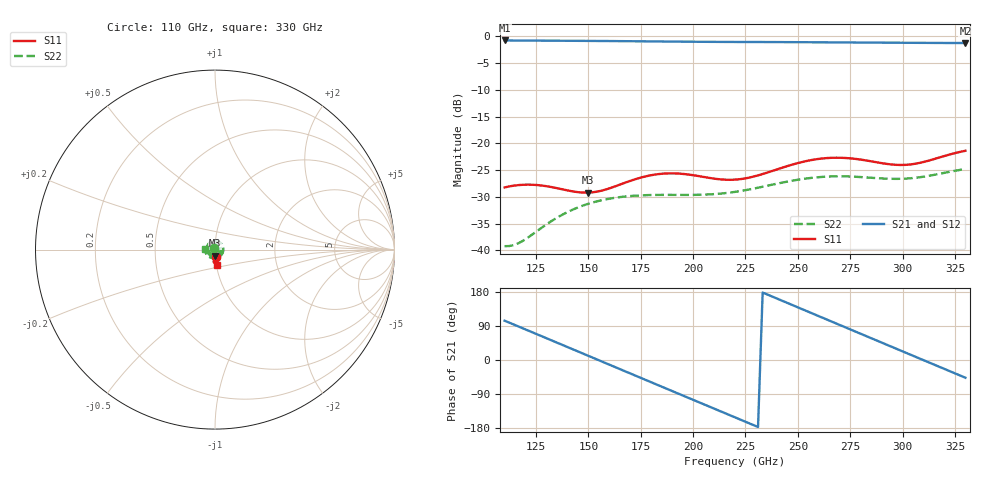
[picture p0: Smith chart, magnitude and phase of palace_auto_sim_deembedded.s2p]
! Created with skrf 1.11.0 (http://scikit-rf.org).
# GHz S DB R 50.0
!freq dBS11 angS11 dBS21 angS21 dBS12 angS12 dBS22 angS22
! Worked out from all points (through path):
!   101 points, 110 GHz to 330 GHz, reference 50 ohm
!   highest |S21| = -0.75 dB at 110 GHz (marker M1); lowest = -1.2 dB at 330 GHz (marker M2)
!   group delay of S21, straight-line fit = 6.45 ps
!   lowest |S11| = -29.2 dB at 149.6 GHz (marker M3), VSWR 1.07, Z = 49.7 - j3.44 ohm
!   |S11| at or under -10 dB: start of sweep to end of sweep
!   |S22| runs from -39.2 to -24.8 dB; largest |S21 - S12| = 1e-13
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110  -28.24 -83.7  -0.75 103.7  -0.75 103.7  -39.23 129.7
118.8  -27.75 -91.1  -0.77 83.4  -0.77 83.4  -38.21 71.5
127.6  -27.88 -97.3  -0.79 63.0  -0.79 63.0  -35.81 22.8
138.6  -28.68 -99.7  -0.81 37.5  -0.81 37.5  -33.13 -26.9
147.4  -29.21 -95.3  -0.83 17.0  -0.83 17.0  -31.64 -63.1
149.6  -29.22 -93.5  -0.83 11.9  -0.83 11.9  -31.35 -72.0
165  -27.72 -84.1  -0.87 -23.9  -0.87 -23.9  -30.06 -134.6
176  -26.30 -86.1  -0.91 -49.5  -0.91 -49.5  -29.71 179.0
184.8  -25.69 -90.8  -0.94 -69.9  -0.94 -69.9  -29.64 140.2
193.6  -25.66 -95.5  -0.97 -90.3  -0.97 -90.3  -29.64 99.8
202.4  -26.10 -97.8  -1.00 -110.6  -1.00 -110.6  -29.62 57.7
220  -26.79 -90.0  -1.03 -151.3  -1.03 -151.3  -29.07 -30.2
228.8  -26.22 -83.9  -1.04 -171.8  -1.04 -171.8  -28.47 -73.9
237.6  -25.19 -80.6  -1.05 167.8  -1.05 167.8  -27.74 -116.1
246.4  -24.08 -81.0  -1.06 147.3  -1.06 147.3  -27.05 -156.4
257.4  -23.06 -85.2  -1.09 121.7  -1.09 121.7  -26.42 155.2
266.2  -22.70 -90.0  -1.11 101.3  -1.11 101.3  -26.19 117.2
275  -22.80 -94.4  -1.13 80.8  -1.13 80.8  -26.20 78.7
283.8  -23.28 -96.4  -1.15 60.4  -1.15 60.4  -26.40 38.9
294.8  -23.95 -93.6  -1.17 34.9  -1.17 34.9  -26.63 -13.7
312.4  -23.23 -82.9  -1.20 -6.0  -1.20 -6.0  -26.08 -101.0
330  -21.38 -84.1  -1.23 -46.8  -1.23 -46.8  -24.80 177.5
